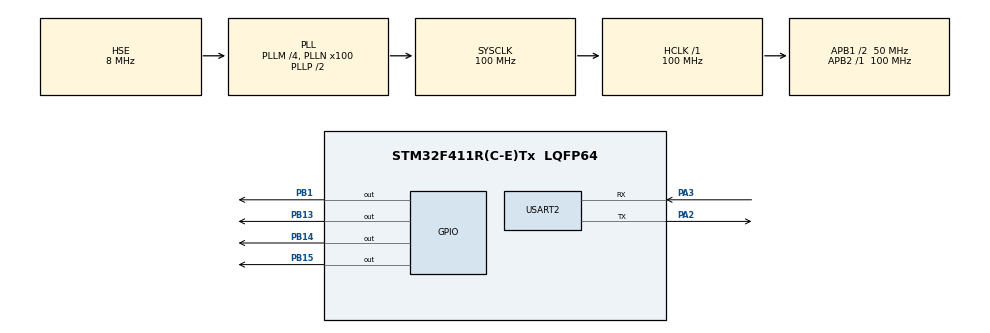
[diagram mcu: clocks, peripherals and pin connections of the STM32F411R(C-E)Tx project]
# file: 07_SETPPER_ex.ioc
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Mcu.Family=STM32F4
Mcu.Name=STM32F411R(C-E)Tx
Mcu.Package=LQFP64
NVIC.PriorityGroup=NVIC_PRIORITYGROUP_4
NVIC.USART2_IRQn=true\:0\:0\:false\:false\:true\:true\:true\:true
PA13.Mode=Serial_Wire
PA13.Signal=SYS_JTMS-SWDIO
PA14.Mode=Serial_Wire
PA14.Signal=SYS_JTCK-SWCLK
PA2.Mode=Asynchronous
PA2.Signal=USART2_TX
PA3.Mode=Asynchronous
PA3.Signal=USART2_RX
PB1.Signal=GPIO_Output
PB13.Signal=GPIO_Output
PB14.Signal=GPIO_Output
PB15.Signal=GPIO_Output
PH0\ -\ OSC_IN.Mode=HSE-External-Oscillator
PH0\ -\ OSC_IN.Signal=RCC_OSC_IN
PH1\ -\ OSC_OUT.Mode=HSE-External-Oscillator
PH1\ -\ OSC_OUT.Signal=RCC_OSC_OUT
ProjectManager.HeapSize=0x200
ProjectManager.StackSize=0x400
ProjectManager.TargetToolchain=STM32CubeIDE
RCC.48MHZClocksFreq_Value=50000000
RCC.AHBFreq_Value=100000000
RCC.APB1CLKDivider=RCC_HCLK_DIV2
RCC.APB1Freq_Value=50000000
RCC.APB1TimFreq_Value=100000000
RCC.APB2Freq_Value=100000000
RCC.APB2TimFreq_Value=100000000
RCC.CortexFreq_Value=100000000
RCC.HCLKFreq_Value=100000000
RCC.HSE_VALUE=8000000
RCC.HSI_VALUE=16000000
RCC.LSE_VALUE=32768
RCC.PLLM=4
RCC.PLLN=100
RCC.PLLSourceVirtual=RCC_PLLSOURCE_HSE
RCC.SYSCLKFreq_VALUE=100000000
RCC.SYSCLKSource=RCC_SYSCLKSOURCE_PLLCLK
RCC.VCOOutputFreq_Value=200000000
USART2.VirtualMode=VM_ASYNC
board=custom

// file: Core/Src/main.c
/* USER CODE BEGIN Header */
/**
  ******************************************************************************
  * @file           : main.c
  * @brief          : Main program body
  ******************************************************************************
  * @attention
  *
  * Copyright (c) 2025 STMicroelectronics.
  * All rights reserved.
  *
  * This software is licensed under terms that can be found in the LICENSE file
  * in the root directory of this software component.
  * If no LICENSE file comes with this software, it is provided AS-IS.
  *
  ******************************************************************************
  */
/* USER CODE END Header */
#include "main.h"
#include "usart.h"
#include "gpio.h"

/* USER CODE BEGIN Includes */
#include "stepper.h"
/* USER CODE END Includes */

/* USER CODE BEGIN PTD */
volatile uint8_t rxData;
volatile uint8_t motorCmd = 0; // 0: 없음, 1: CW, 2: CCW
/* USER CODE END PTD */

void SystemClock_Config(void);
/* USER CODE BEGIN PFP */
void HAL_UART_RxCpltCallback(UART_HandleTypeDef *huart)
{
  /* 수신 인터럽트가 USART2에서 왔는지 확인 */
  if (huart != NULL && huart->Instance == USART2)
  {
    if (rxData == 'a')
    {
      motorCmd = 1;   // 시계방향 한 바퀴 명령
    }
    else if (rxData == 'b')
    {
      motorCmd = 2;   // 반시계방향 (반바퀴) 명령
    }
    // 다른 문자이면 무시(현재 motorCmd 유지)

    /* 다음 문자 수신을 위해 인터럽트 다시 등록 */
    HAL_UART_Receive_IT(&huart2, (uint8_t *)&rxData, 1);
  }
}
/* USER CODE END PFP */

int main(void)
{

  /* MCU Configuration--------------------------------------------------------*/

  /* Reset of all peripherals, Initializes the Flash interface and the Systick. */
  HAL_Init();

  /* Configure the system clock */
  SystemClock_Config();

  /* Initialize all configured peripherals */
  MX_GPIO_Init();
  MX_USART2_UART_Init();

  /* Infinite loop */
  /* USER CODE BEGIN WHILE */
  while (1)
  {
    if (motorCmd == 1)
       {
         /* 'a' 수신: 시계방향 한 바퀴 */
         rotateDegrees(400, DIR_CW);   // 한 바퀴(사용자 정의)
         motorCmd = 0;                 // 명령 처리 완료
       }
       else if (motorCmd == 2)
       {
         /* 'b' 수신: 반바퀴 */
         rotateDegrees(200, DIR_CCW);  // 반 바퀴(사용자 정의)
         motorCmd = 0;
       }

       /* 필요하면 다른 주기적 작업을 여기에 추가 */
     }
    /* USER CODE END WHILE */

  }
}

void SystemClock_Config(void)
{
  RCC_OscInitTypeDef RCC_OscInitStruct = {0};
  RCC_ClkInitTypeDef RCC_ClkInitStruct = {0};

  /** Configure the main internal regulator output voltage
  */
  __HAL_RCC_PWR_CLK_ENABLE();
  __HAL_PWR_VOLTAGESCALING_CONFIG(PWR_REGULATOR_VOLTAGE_SCALE1);

  /** Initializes the RCC Oscillators according to the specified parameters
  * in the RCC_OscInitTypeDef structure.
  */
  RCC_OscInitStruct.OscillatorType = RCC_OSCILLATORTYPE_HSE;
  RCC_OscInitStruct.HSEState = RCC_HSE_ON;
  RCC_OscInitStruct.PLL.PLLState = RCC_PLL_ON;
  RCC_OscInitStruct.PLL.PLLSource = RCC_PLLSOURCE_HSE;
  RCC_OscInitStruct.PLL.PLLM = 4;
  RCC_OscInitStruct.PLL.PLLN = 100;
  RCC_OscInitStruct.PLL.PLLP = RCC_PLLP_DIV2;
  RCC_OscInitStruct.PLL.PLLQ = 4;
  if (HAL_RCC_OscConfig(&RCC_OscInitStruct) != HAL_OK)
  {
    Error_Handler();
  }

  /** Initializes the CPU, AHB and APB buses clocks
  */
  RCC_ClkInitStruct.ClockType = RCC_CLOCKTYPE_HCLK|RCC_CLOCKTYPE_SYSCLK
                              |RCC_CLOCKTYPE_PCLK1|RCC_CLOCKTYPE_PCLK2;
  RCC_ClkInitStruct.SYSCLKSource = RCC_SYSCLKSOURCE_PLLCLK;
  RCC_ClkInitStruct.AHBCLKDivider = RCC_SYSCLK_DIV1;
  RCC_ClkInitStruct.APB1CLKDivider = RCC_HCLK_DIV2;
  RCC_ClkInitStruct.APB2CLKDivider = RCC_HCLK_DIV1;

  if (HAL_RCC_ClockConfig(&RCC_ClkInitStruct, FLASH_LATENCY_3) != HAL_OK)
  {
    Error_Handler();
  }
}

void Error_Handler(void)
{
  __disable_irq();
  while (1)
  {
  }
}
